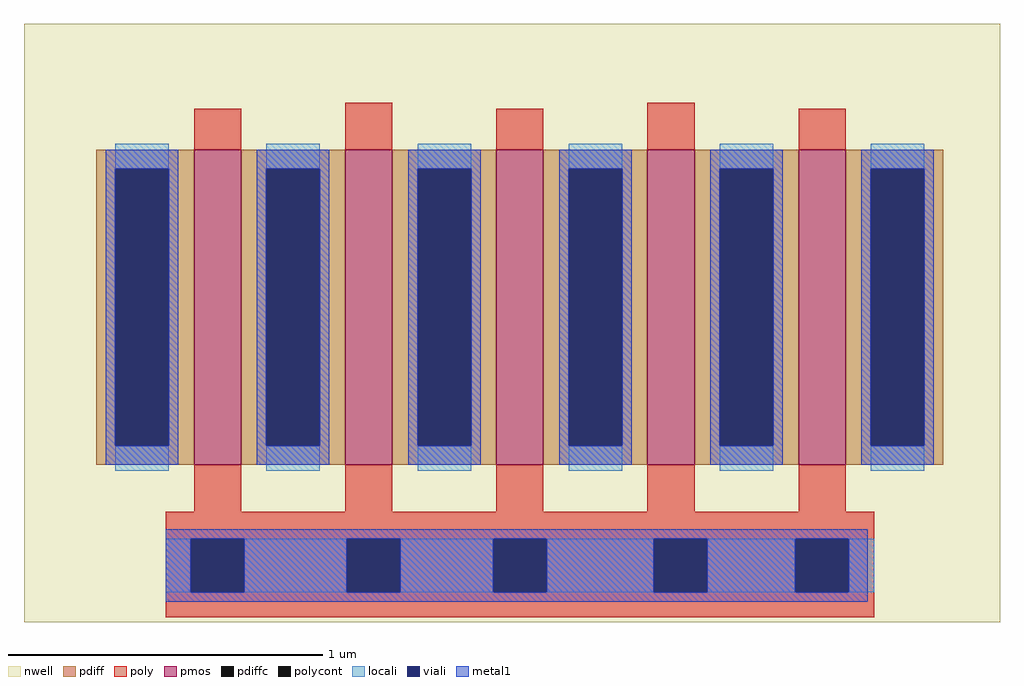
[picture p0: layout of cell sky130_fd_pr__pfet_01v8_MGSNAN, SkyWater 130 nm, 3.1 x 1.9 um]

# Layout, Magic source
magic
tech sky130A
magscale 1 2
<< nwell >>
rect -315 -200 305 180
<< pmos >>
rect -207 -100 -177 100
rect -111 -100 -81 100
rect -15 -100 15 100
rect 81 -100 111 100
rect 177 -100 207 100
<< pdiff >>
rect -269 88 -207 100
rect -269 -88 -257 88
rect -223 -88 -207 88
rect -269 -100 -207 -88
rect -177 88 -111 100
rect -177 -88 -161 88
rect -127 -88 -111 88
rect -177 -100 -111 -88
rect -81 88 -15 100
rect -81 -88 -65 88
rect -31 -88 -15 88
rect -81 -100 -15 -88
rect 15 88 81 100
rect 15 -88 31 88
rect 65 -88 81 88
rect 15 -100 81 -88
rect 111 88 177 100
rect 111 -88 127 88
rect 161 -88 177 88
rect 111 -100 177 -88
rect 207 88 269 100
rect 207 -88 223 88
rect 257 -88 269 88
rect 207 -100 269 -88
<< pdiffc >>
rect -257 -88 -223 88
rect -161 -88 -127 88
rect -65 -88 -31 88
rect 31 -88 65 88
rect 127 -88 161 88
rect 223 -88 257 88
<< poly >>
rect -207 100 -177 126
rect -111 100 -81 130
rect -15 100 15 126
rect 81 100 111 130
rect 177 100 207 126
rect -207 -130 -177 -100
rect -111 -130 -81 -100
rect -15 -130 15 -100
rect 81 -130 111 -100
rect 177 -130 207 -100
rect -225 -147 225 -130
rect -225 -181 -209 -147
rect -175 -181 -110 -147
rect -76 -181 -17 -147
rect 17 -181 85 -147
rect 119 -181 175 -147
rect 209 -181 225 -147
rect -225 -197 225 -181
<< polycont >>
rect -209 -181 -175 -147
rect -110 -181 -76 -147
rect -17 -181 17 -147
rect 85 -181 119 -147
rect 175 -181 209 -147
<< locali >>
rect -257 88 -223 104
rect -257 -104 -223 -88
rect -161 88 -127 104
rect -161 -104 -127 -88
rect -65 88 -31 104
rect -65 -104 -31 -88
rect 31 88 65 104
rect 31 -104 65 -88
rect 127 88 161 104
rect 127 -104 161 -88
rect 223 88 257 104
rect 223 -104 257 -88
rect -225 -181 -209 -147
rect -175 -181 -110 -147
rect -76 -181 -17 -147
rect 17 -181 85 -147
rect 119 -181 175 -147
rect 209 -181 225 -147
<< viali >>
rect -257 -88 -223 88
rect -161 -88 -127 88
rect -65 -88 -31 88
rect 31 -88 65 88
rect 127 -88 161 88
rect 223 -88 257 88
rect -209 -181 -175 -147
rect -110 -181 -76 -147
rect -17 -181 17 -147
rect 85 -181 119 -147
rect 175 -181 209 -147
<< metal1 >>
rect -263 88 -217 100
rect -263 -88 -257 88
rect -223 -88 -217 88
rect -263 -100 -217 -88
rect -167 88 -121 100
rect -167 -88 -161 88
rect -127 -88 -121 88
rect -167 -100 -121 -88
rect -71 88 -25 100
rect -71 -88 -65 88
rect -31 -88 -25 88
rect -71 -100 -25 -88
rect 25 88 71 100
rect 25 -88 31 88
rect 65 -88 71 88
rect 25 -100 71 -88
rect 121 88 167 100
rect 121 -88 127 88
rect 161 -88 167 88
rect 121 -100 167 -88
rect 217 88 263 100
rect 217 -88 223 88
rect 257 -88 263 88
rect 217 -100 263 -88
rect -225 -147 221 -141
rect -225 -181 -209 -147
rect -175 -181 -110 -147
rect -76 -181 -17 -147
rect 17 -181 85 -147
rect 119 -181 175 -147
rect 209 -181 221 -147
rect -225 -187 221 -181
<< properties >>
string gencell sky130_fd_pr__pfet_01v8
string library sky130
string parameters w 1.0 l 0.15 m 1 nf 5 diffcov 100 polycov 100 guard 0 glc 1 grc 1 gtc 1 gbc 1 tbcov 100 rlcov 100 topc 1 botc 0 poverlap 0 doverlap 1 lmin 0.15 wmin 0.42 compatible {sky130_fd_pr__pfet_01v8  sky130_fd_pr__pfet_01v8_lvt sky130_fd_pr__pfet_01v8_hvt  sky130_fd_pr__pfet_g5v0d10v5} full_metal 1 viasrc 100 viadrn 100 viagate 100 viagb 0 viagr 0 viagl 0 viagt 0
<< end >>
